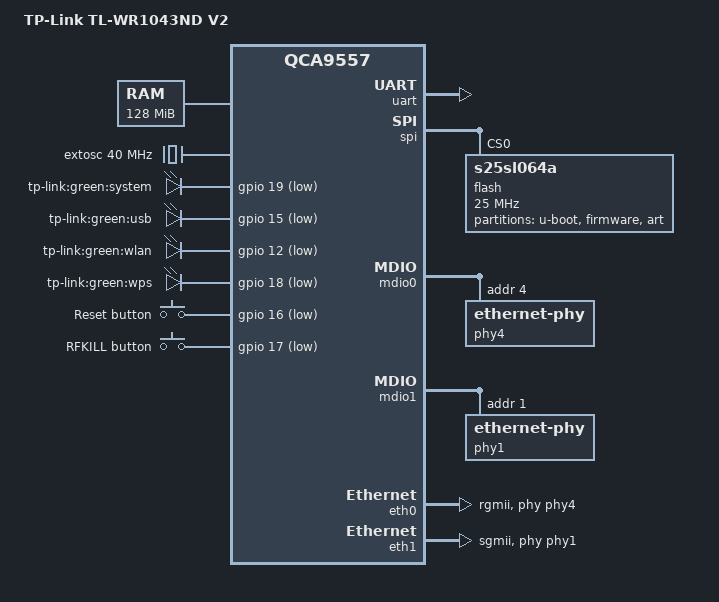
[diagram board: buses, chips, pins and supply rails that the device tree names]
// SPDX-License-Identifier: GPL-2.0-or-later OR MIT
/dts-v1/;

#include <dt-bindings/gpio/gpio.h>
#include <dt-bindings/input/input.h>

#include "qca9557.dtsi"

/ {
	compatible = "tplink,tl-wr1043nd-v2", "qca,qca9557";
	model = "TP-Link TL-WR1043ND V2";

	memory@0 {
		device_type = "memory";
		reg = <0x0 0x8000000>;
	};

	extosc: ref {
		compatible = "fixed-clock";
		#clock-cells = <0>;
		clock-output-names = "ref";
		clock-frequency = <40000000>;
	};

	leds {
		compatible = "gpio-leds";

		system {
			label = "tp-link:green:system";
			gpios = <&gpio 19 GPIO_ACTIVE_LOW>;
			linux,default-trigger = "heartbeat";
		};

		usb {
			label = "tp-link:green:usb";
			gpios = <&gpio 15 GPIO_ACTIVE_LOW>;
			default-state = "off";
		};

		wifi_green {
			label = "tp-link:green:wlan";
			gpios = <&gpio 12 GPIO_ACTIVE_LOW>;
			default-state = "off";
		};

		wifi_wps {
			label = "tp-link:green:wps";
			gpios = <&gpio 18 GPIO_ACTIVE_LOW>;
			default-state = "off";
		};
	};

	keys {
		compatible = "gpio-keys-polled";
		#address-cells = <1>;
		#size-cells = <0>;
		poll-interval = <100>;

		button@0 {
			label = "Reset button";
			linux,code = <KEY_RESTART>;
			gpios = <&gpio 16 GPIO_ACTIVE_LOW>;
			debounce-interval = <60>;
		};

		button@1 {
			label = "RFKILL button";
			linux,code = <KEY_RFKILL>;
			gpios = <&gpio 17 GPIO_ACTIVE_LOW>;
			debounce-interval = <60>;
		};
	};
};
/*
&pcie0 {
	status = "okay";
};
*/
&uart {
	status = "okay";
};

&pll {
	clocks = <&extosc>;
};

&spi {
	status = "okay";
	num-cs = <1>;

	flash@0 {
		#address-cells = <1>;
		#size-cells = <1>;
		compatible = "s25sl064a";
		reg = <0>;
		spi-max-frequency = <25000000>;

		partitions {
			compatible = "fixed-partitions";
			#address-cells = <1>;
			#size-cells = <1>;

			partition@0 {
				label = "u-boot";
				reg = <0x000000 0x20000>;
				read-only;
			};

			partition@1 {
				label = "firmware";
				reg = <0x20000 0x7d0000>;
			};

			partition@2 {
				label = "art";
				reg = <0x7f0000 0x10000>;
				read-only;
			};
		};
	};
};

&mdio0 {
	status = "okay";

	phy4: ethernet-phy@4 {
		reg = <4>;
		phy-mode = "rgmii-id";
	};
};

&mdio1 {
	status = "okay";

	phy1: ethernet-phy@1 {
		reg = <1>;
		phy-mode = "sgmii";
	};
};

&eth0 {
	status = "okay";

	phy-handle = <&phy4>;
	phy-mode = "rgmii";
};

&eth1 {
	status = "okay";

	phy-handle = <&phy1>;
	phy-mode = "sgmii";
};
